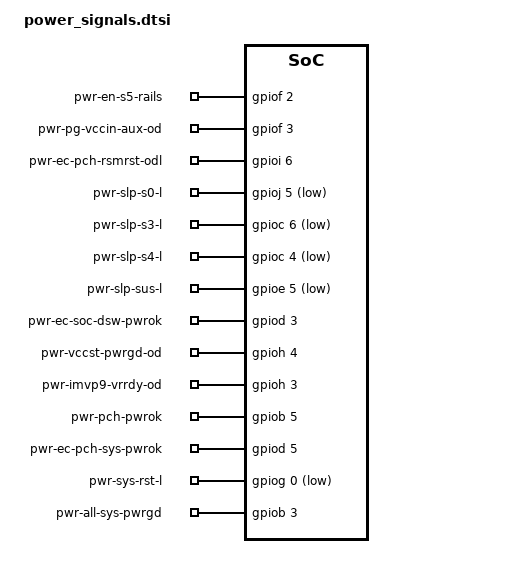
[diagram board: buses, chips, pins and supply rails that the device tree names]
/* Copyright 2023 The ChromiumOS Authors
 * Use of this source code is governed by a BSD-style license that can be
 * found in the LICENSE file.
 */

/ {
	chosen {
		intel-ap-pwrseq,espi = &espi0;
	};

	common-pwrseq {
		compatible = "intel,ap-pwrseq";

		/* PCH requires 10ms delay after 3.3 rail stable.  Slew rate
		 * is 2.5 ms so set a minimum of 12.5 ms delay after enabling
		 * EN_S5_RAILS
		 */
		dsw-pwrok-delay = <13>;
		sys-pwrok-delay = <10>;
		all-sys-pwrgd-timeout = <20>;
	};

	pwr-en-s5-rails {
		compatible = "intel,ap-pwrseq-gpio";
		dbg-label = "EN_S5_RAILS enable output for PP5000/PP3300";
		enum-name = "PWR_EN_PP5000_A";
		gpios = <&gpiof 2 0>;
		output;
	};
	pwr-pg-vccin-aux-od {
		compatible = "intel,ap-pwrseq-gpio";
		dbg-label = "PG_VCCIN_AUX_OD power good from regulator";
		enum-name = "PWR_RSMRST";
		gpios = <&gpiof 3 0>;
		interrupt-flags = <GPIO_INT_EDGE_BOTH>;
	};
	pwr-ec-pch-rsmrst-odl {
		/* EC should delay RSMRST by 10ms on rising edge of
		 * PG_VCCIN_AUX_OD.
		 * TODO: b/317810253 - Zephyr: Fix active low handling for
		 * RSMRST
		 */
		compatible = "intel,ap-pwrseq-gpio";
		dbg-label = "EC_RSMRST_L output to PCH";
		enum-name = "PWR_EC_PCH_RSMRST";
		gpios = <&gpioi 6 0>;
		output;
	};
	pwr-slp-s0-l {
		compatible = "intel,ap-pwrseq-gpio";
		dbg-label = "SYS_SLP_S0IX_L input from PCH";
		enum-name = "PWR_SLP_S0";
		gpios = <&gpioj 5 GPIO_ACTIVE_LOW>;
		interrupt-flags = <GPIO_INT_EDGE_BOTH>;
	};
	pwr-slp-s3-l {
		compatible = "intel,ap-pwrseq-gpio";
		dbg-label = "EC_SLP_S3_L input from PCH";
		enum-name = "PWR_SLP_S3";
		gpios = <&gpioc 6 GPIO_ACTIVE_LOW>;
		interrupt-flags = <GPIO_INT_EDGE_BOTH>;
	};
	pwr-slp-s4-l {
		compatible = "intel,ap-pwrseq-gpio";
		dbg-label = "EC_SLP_S4_L input from PCH";
		enum-name = "PWR_SLP_S4";
		gpios = <&gpioc 4 GPIO_ACTIVE_LOW>;
		interrupt-flags = <GPIO_INT_EDGE_BOTH>;
	};
	pwr-slp-s5-l {
		compatible = "intel,ap-pwrseq-vw";
		dbg-label = "SLP_S5 virtual wire input from PCH";
		enum-name = "PWR_SLP_S5";
		virtual-wire = "ESPI_VWIRE_SIGNAL_SLP_S5";
		vw-invert;
	};
	pwr-slp-sus-l {
		compatible = "intel,ap-pwrseq-gpio";
		dbg-label = "EC_SLP_SUS_L input from PCH";
		enum-name = "PWR_SLP_SUS";
		gpios = <&gpioe 5 GPIO_ACTIVE_LOW>;
		interrupt-flags = <GPIO_INT_EDGE_BOTH>;
	};
	pwr-dsw-pwrok {
		/* Brox doesn't provide a power good signal for the PP5000 and
		 * PP3300 rails.  Create a fake board level signal that just
		 * indicates the status of the PWR_EN_PP5000_A output.
		 */
		compatible = "intel,ap-pwrseq-external";
		dbg-label = "Main rails power good";
		enum-name = "PWR_DSW_PWROK";
	};
	pwr-pg_pp1p50 {
		/* Brox doesn't provide a power good signal for the PP1050 rail.
		 * Create a fake board level signal that just indicates the
		 * status of the PWR_EN_PP5000_A output.
		 */
		compatible = "intel,ap-pwrseq-external";
		dbg-label = "Main rails power good";
		enum-name = "PWR_PG_PP1P05";
	};
	pwr-ec-soc-dsw-pwrok {
		/* EC should delay DSW_PWROK by 12.5ms on after enabling
		 * the S5 rails.
		 */
		compatible = "intel,ap-pwrseq-gpio";
		dbg-label = "EC_DSW_PWROK output to PCH";
		enum-name = "PWR_EC_SOC_DSW_PWROK";
		gpios = <&gpiod 3 0>;
		output;
	};
	pwr-vccst-pwrgd-od {
		compatible = "intel,ap-pwrseq-gpio";
		dbg-label = "VCCST_PWRGD_OD output to PCH";
		enum-name = "PWR_VCCST_PWRGD";
		gpios = <&gpioh 4 (GPIO_OPEN_DRAIN | GPIO_VOLTAGE_1P8)>;
		output;
	};
	pwr-imvp9-vrrdy-od {
		compatible = "intel,ap-pwrseq-gpio";
		dbg-label = "IMVP9_VRRDY_OD input from IMVP9";
		enum-name = "PWR_IMVP9_VRRDY";
		gpios = <&gpioh 3 0>;
	};
	pwr-pch-pwrok {
		compatible = "intel,ap-pwrseq-gpio";
		dbg-label = "EC_PCH_PWROK output to PCH";
		enum-name = "PWR_PCH_PWROK";
		gpios = <&gpiob 5 0>;
		output;
	};
	pwr-ec-pch-sys-pwrok {
		compatible = "intel,ap-pwrseq-gpio";
		dbg-label = "EC_PCH_SYS_PWROK output to PCH";
		enum-name = "PWR_EC_PCH_SYS_PWROK";
		gpios = <&gpiod 5 0>;
		output;
	};
	pwr-sys-rst-l {
		compatible = "intel,ap-pwrseq-gpio";
		dbg-label = "SYS_RST_R_ODL output to PCH";
		enum-name = "PWR_SYS_RST";
		gpios = <&gpiog 0 (GPIO_ACTIVE_LOW|GPIO_OPEN_DRAIN)>;
		output;
	};
	pwr-all-sys-pwrgd {
		compatible = "intel,ap-pwrseq-gpio";
		dbg-label = "Combined all power good";
		enum-name = "PWR_ALL_SYS_PWRGD";
		gpios = <&gpiob 3 0>;
	};

	ap-power {
		compatible = "ap-pwrseq-sub-states";
		chipset = "AP_POWER_STATE_S0IX";
	};
};
